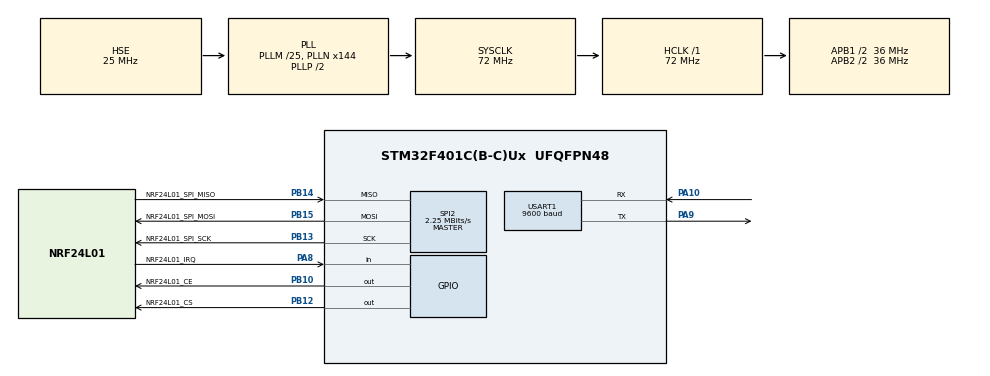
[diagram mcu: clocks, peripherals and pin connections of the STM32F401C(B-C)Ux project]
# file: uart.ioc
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Mcu.Family=STM32F4
Mcu.Name=STM32F401C(B-C)Ux
Mcu.Package=UFQFPN48
NVIC.PriorityGroup=NVIC_PRIORITYGROUP_4
NVIC.TIM2_IRQn=true\:0\:0\:false\:false\:true\:true\:true
PA10.Mode=Asynchronous
PA10.Signal=USART1_RX
PA8.GPIO_Label=NRF24L01_IRQ
PA8.Signal=GPIO_Input
PA9.Mode=Asynchronous
PA9.Signal=USART1_TX
PB10.GPIO_Label=NRF24L01_CE
PB10.Signal=GPIO_Output
PB12.GPIO_Label=NRF24L01_CS
PB12.Signal=GPIO_Output
PB13.GPIO_Label=NRF24L01_SPI_SCK
PB13.Mode=Full_Duplex_Master
PB13.Signal=SPI2_SCK
PB14.GPIO_Label=NRF24L01_SPI_MISO
PB14.Mode=Full_Duplex_Master
PB14.Signal=SPI2_MISO
PB15.GPIO_Label=NRF24L01_SPI_MOSI
PB15.Mode=Full_Duplex_Master
PB15.Signal=SPI2_MOSI
PH0\ -\ OSC_IN.Mode=HSE-External-Oscillator
PH0\ -\ OSC_IN.Signal=RCC_OSC_IN
PH1\ -\ OSC_OUT.Mode=HSE-External-Oscillator
PH1\ -\ OSC_OUT.Signal=RCC_OSC_OUT
ProjectManager.HeapSize=0x200
ProjectManager.StackSize=0x400
ProjectManager.TargetToolchain=Makefile
RCC.48MHZClocksFreq_Value=36000000
RCC.AHBFreq_Value=72000000
RCC.APB1CLKDivider=RCC_HCLK_DIV2
RCC.APB1Freq_Value=36000000
RCC.APB1TimFreq_Value=72000000
RCC.APB2CLKDivider=RCC_HCLK_DIV2
RCC.APB2Freq_Value=36000000
RCC.APB2TimFreq_Value=72000000
RCC.CortexFreq_Value=72000000
RCC.HCLKFreq_Value=72000000
RCC.HSE_VALUE=25000000
RCC.HSI_VALUE=16000000
RCC.LSE_VALUE=32768
RCC.PLLM=25
RCC.PLLN=144
RCC.PLLSourceVirtual=RCC_PLLSOURCE_HSE
RCC.SYSCLKFreq_VALUE=72000000
RCC.SYSCLKSource=RCC_SYSCLKSOURCE_PLLCLK
RCC.VCOOutputFreq_Value=144000000
SPI2.BaudRatePrescaler=SPI_BAUDRATEPRESCALER_16
SPI2.CalculateBaudRate=2.25 MBits/s
SPI2.Direction=SPI_DIRECTION_2LINES
SPI2.Mode=SPI_MODE_MASTER
SPI2.VirtualType=VM_MASTER
TIM2.Period=65535
TIM2.Prescaler=72-1
USART1.BaudRate=9600
USART1.VirtualMode=VM_ASYNC
VP_TIM2_VS_ClockSourceINT.Mode=Internal
board=custom

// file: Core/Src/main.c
/* USER CODE BEGIN Header */
/**
  ******************************************************************************
  * @file           : main.c
  * @brief          : Main program body
  ******************************************************************************
  * @attention
  *
  * <h2><center>&copy; Copyright (c) 2021 STMicroelectronics.
  * All rights reserved.</center></h2>
  *
  * This software component is licensed by ST under BSD 3-Clause license,
  * the "License"; You may not use this file except in compliance with the
  * License. You may obtain a copy of the License at:
  *                        opensource.org/licenses/BSD-3-Clause
  *
  ******************************************************************************
  */
/* USER CODE END Header */
#include "main.h"
#include "spi.h"
#include "tim.h"
#include "usart.h"
#include "gpio.h"

/* USER CODE BEGIN Includes */
#include "NRF24L01.h"
#include "stdio.h"

/* USER CODE END Includes */

/* USER CODE BEGIN PV */
uint8_t tx_buf[1] = {18};
uint8_t tx_count = 0;

volatile uint32_t timer_count;
uint32_t time_now = 0;
uint32_t time_last = 0;
uint32_t time_interval = 0;

uint16_t tx_delay;
/* USER CODE END PV */

void SystemClock_Config(void);

int main(void)
{

  /* MCU Configuration--------------------------------------------------------*/

  /* Reset of all peripherals, Initializes the Flash interface and the Systick. */
  HAL_Init();

  /* Configure the system clock */
  SystemClock_Config();

  /* Initialize all configured peripherals */
  MX_GPIO_Init();
  MX_USART1_UART_Init();
  MX_SPI2_Init();
  MX_TIM2_Init();
  /* USER CODE BEGIN 2 */

	while(NRF24L01_Check())
	{
    printf("Can not find NRF24L01\r\n");
		HAL_Delay(1000);
	}
  printf("NRF24L01 connect sucessfullt\r\n");
  NRF24L01_TX_Mode();

  HAL_TIM_Base_Start_IT(&htim2);  //使能定时器中断
	HAL_TIM_Base_Start(&htim2);     //启动定时器
  /* USER CODE END 2 */

  /* Infinite loop */
  while (1)
  {

    /* USER CODE BEGIN 3 */
    if(tx_count > 10)
    {
      tx_delay = (uint16_t)(time_interval / tx_count);    //us

      time_interval = 0;
      timer_count = 0;
      time_now = 0;
      time_last = 0;
      tx_count = 0;

      printf("Delay=%d\r\n",tx_delay);
    }

    if(NRF24L01_TxPacket(tx_buf)==TX_OK)
    {
      //printf("Successfully!\r\n");
      time_interval += (time_now - time_last);
      time_last = time_now;
      time_now = htim2.Instance->CNT + timer_count * 0xffff;
      tx_count++;
    }
    else
    {
      printf("Fail!\r\n");
    }

  }
  /* USER CODE END 3 */
}

void SystemClock_Config(void)
{
  RCC_OscInitTypeDef RCC_OscInitStruct = {0};
  RCC_ClkInitTypeDef RCC_ClkInitStruct = {0};

  /** Configure the main internal regulator output voltage
  */
  __HAL_RCC_PWR_CLK_ENABLE();
  __HAL_PWR_VOLTAGESCALING_CONFIG(PWR_REGULATOR_VOLTAGE_SCALE2);
  /** Initializes the RCC Oscillators according to the specified parameters
  * in the RCC_OscInitTypeDef structure.
  */
  RCC_OscInitStruct.OscillatorType = RCC_OSCILLATORTYPE_HSE;
  RCC_OscInitStruct.HSEState = RCC_HSE_ON;
  RCC_OscInitStruct.PLL.PLLState = RCC_PLL_ON;
  RCC_OscInitStruct.PLL.PLLSource = RCC_PLLSOURCE_HSE;
  RCC_OscInitStruct.PLL.PLLM = 25;
  RCC_OscInitStruct.PLL.PLLN = 144;
  RCC_OscInitStruct.PLL.PLLP = RCC_PLLP_DIV2;
  RCC_OscInitStruct.PLL.PLLQ = 4;
  if (HAL_RCC_OscConfig(&RCC_OscInitStruct) != HAL_OK)
  {
    Error_Handler();
  }
  /** Initializes the CPU, AHB and APB buses clocks
  */
  RCC_ClkInitStruct.ClockType = RCC_CLOCKTYPE_HCLK|RCC_CLOCKTYPE_SYSCLK
                              |RCC_CLOCKTYPE_PCLK1|RCC_CLOCKTYPE_PCLK2;
  RCC_ClkInitStruct.SYSCLKSource = RCC_SYSCLKSOURCE_PLLCLK;
  RCC_ClkInitStruct.AHBCLKDivider = RCC_SYSCLK_DIV1;
  RCC_ClkInitStruct.APB1CLKDivider = RCC_HCLK_DIV2;
  RCC_ClkInitStruct.APB2CLKDivider = RCC_HCLK_DIV2;

  if (HAL_RCC_ClockConfig(&RCC_ClkInitStruct, FLASH_LATENCY_2) != HAL_OK)
  {
    Error_Handler();
  }
}

/* USER CODE BEGIN 4 */
void HAL_TIM_PeriodElapsedCallback(TIM_HandleTypeDef *htm)
{
  HAL_TIM_IRQHandler(&htim2);
	timer_count++;

}
/* USER CODE END 4 */

void Error_Handler(void)
{
  __disable_irq();
  while (1)
  {
  }
}

/************************ (C) COPYRIGHT STMicroelectronics *****END OF FILE****/
